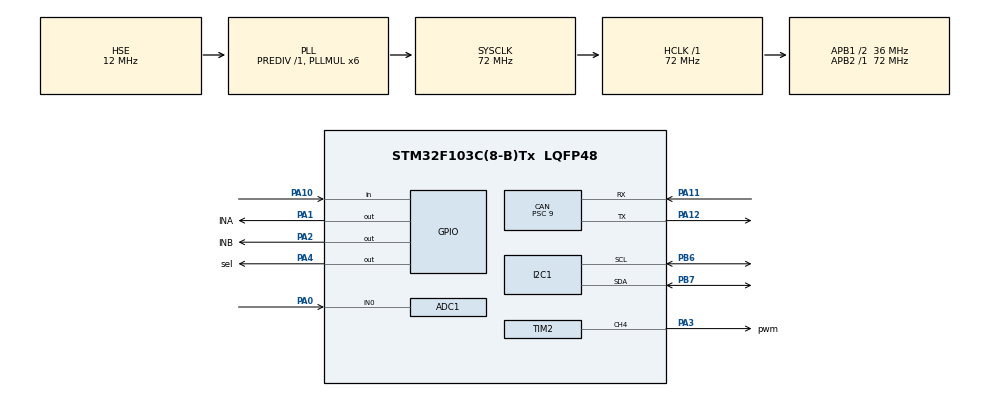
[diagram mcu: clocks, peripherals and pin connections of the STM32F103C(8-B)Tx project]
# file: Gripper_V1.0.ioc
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ADC1.Channel-0\#ChannelRegularConversion=ADC_CHANNEL_0
ADC1.ContinuousConvMode=ENABLE
ADC1.NbrOfConversionFlag=1
ADC1.Rank-0\#ChannelRegularConversion=1
ADC1.SamplingTime-0\#ChannelRegularConversion=ADC_SAMPLETIME_239CYCLES_5
ADC1.master=1
CAN.ABOM=ENABLE
CAN.BS1=CAN_BS1_13TQ
CAN.BS2=CAN_BS2_2TQ
CAN.CalculateBaudRate=250000
CAN.CalculateTimeBit=4000
CAN.CalculateTimeQuantum=250.0
CAN.NART=ENABLE
CAN.Prescaler=9
CAN.SJW=CAN_SJW_2TQ
CAN.TXFP=ENABLE
Dma.ADC1.0.Direction=DMA_PERIPH_TO_MEMORY
Dma.ADC1.0.Instance=DMA1_Channel1
Dma.ADC1.0.MemDataAlignment=DMA_MDATAALIGN_HALFWORD
Dma.ADC1.0.MemInc=DMA_MINC_ENABLE
Dma.ADC1.0.Mode=DMA_CIRCULAR
Dma.ADC1.0.PeriphDataAlignment=DMA_PDATAALIGN_HALFWORD
Dma.ADC1.0.PeriphInc=DMA_PINC_DISABLE
Dma.ADC1.0.Priority=DMA_PRIORITY_LOW
Dma.Request0=ADC1
I2C1.I2C_Mode=I2C_Standard
Mcu.Family=STM32F1
Mcu.Name=STM32F103C(8-B)Tx
Mcu.Package=LQFP48
NVIC.ADC1_2_IRQn=true\:0\:0\:false\:false\:true\:true\:true\:true
NVIC.DMA1_Channel1_IRQn=true\:0\:0\:false\:false\:true\:false\:true\:true
NVIC.PriorityGroup=NVIC_PRIORITYGROUP_4
NVIC.USB_LP_CAN1_RX0_IRQn=true\:0\:0\:false\:false\:true\:true\:true\:true
PA0-WKUP.Signal=ADCx_IN0
PA1.GPIO_Label=INA
PA1.Signal=GPIO_Output
PA10.GPIO_PuPd=GPIO_PULLUP
PA10.Signal=GPIO_Input
PA11.Mode=CAN_Activate
PA11.Signal=CAN_RX
PA12.Mode=CAN_Activate
PA12.Signal=CAN_TX
PA13.Mode=Serial_Wire
PA13.Signal=SYS_JTMS-SWDIO
PA14.Mode=Serial_Wire
PA14.Signal=SYS_JTCK-SWCLK
PA2.GPIO_Label=INB
PA2.Signal=GPIO_Output
PA3.GPIO_Label=pwm
PA3.Signal=S_TIM2_CH4
PA4.GPIO_Label=sel
PA4.Signal=GPIO_Output
PB6.Mode=I2C
PB6.Signal=I2C1_SCL
PB7.Mode=I2C
PB7.Signal=I2C1_SDA
PD0-OSC_IN.Mode=HSE-External-Oscillator
PD0-OSC_IN.Signal=RCC_OSC_IN
PD1-OSC_OUT.Mode=HSE-External-Oscillator
PD1-OSC_OUT.Signal=RCC_OSC_OUT
ProjectManager.HeapSize=0x200
ProjectManager.StackSize=0x400
ProjectManager.TargetToolchain=STM32CubeIDE
RCC.ADCPresc=RCC_ADCPCLK2_DIV6
RCC.AHBFreq_Value=72000000
RCC.APB1CLKDivider=RCC_HCLK_DIV2
RCC.APB1Freq_Value=36000000
RCC.APB1TimFreq_Value=72000000
RCC.APB2Freq_Value=72000000
RCC.APB2TimFreq_Value=72000000
RCC.HCLKFreq_Value=72000000
RCC.HSE_VALUE=12000000
RCC.PLLMUL=RCC_PLL_MUL6
RCC.PLLSourceVirtual=RCC_PLLSOURCE_HSE
RCC.SYSCLKFreq_VALUE=72000000
RCC.SYSCLKSource=RCC_SYSCLKSOURCE_PLLCLK
RCC.USBFreq_Value=72000000
SH.ADCx_IN0.0=ADC1_IN0,IN0
SH.S_TIM2_CH4.0=TIM2_CH4,PWM Generation4 CH4
TIM2.Channel-PWM\ Generation4\ CH4=TIM_CHANNEL_4
TIM2.Period=3199
VP_TIM2_VS_ClockSourceINT.Mode=Internal
board=custom

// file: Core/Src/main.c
/* USER CODE BEGIN Header */
/**
  ******************************************************************************
  * @file           : main.c
  * @brief          : VNH7100 kiskac kontrol karti
  ******************************************************************************
  * Donanim (STM32F103C8T6, 64 MHz HSI):
  *   PA0 -> CS (ADC1_IN0) | PA1 -> INA | PA2 -> INB | PA3 -> PWM (TIM2_CH4)
  *   PA4 -> SEL0
  *   PB6 -> I2C1 SCL (TX1 test noktasi) | PB7 -> I2C1 SDA (RX1 test noktasi)
  *   PA11 -> CAN RX | PA12 -> CAN TX | PA10 -> TCAN337 FAULT
  *
  * Moduller:
  *   app_config.h  : tum ayarlar (esikler, hizlar, sureler)
  *   vnh7100.c/h   : dusuk seviye surucu (PWM, yon, akim olcumu)
  *   gripper.c/h   : kiskac durum makinesi ve korumalar
  *   watchdog.c/h  : IWDG
  *   tof_sensor.c/h: VL53L8CX uygulama katmani (platform.c + ST ULD API)
  *   can_comm.c/h  : bxCAN dusuk seviye (kuyruklar, filtre, bit zamanlamasi)
  *   can_protocol.c/h + gripper_can_defs.h : kiskac CAN protokolu (master ile ortak)
  *
  * Debugger (Live Expressions) ile kullanim:
  *   dbg_cmd         : 1 = AC, 2 = KAPA, 3 = DUR  (islenince 0'a doner)
  *   dbg_cmd_result  : son komut kabul edildi mi
  *   dbg_clear_fault : true yap -> ariza temizlenir
  *   grip_status     : durum, akim, tepe akim, durma sebebi...
  *   tof_status      : sensor durumu / hata sebebi
  *   tof_frame       : son olcum (distance_mm[], valid_mask, min_distance_mm)
  *   dbg_tof_reinit  : true yap -> sensor bastan kurulur (sadece motor dururken)
  ******************************************************************************
  */
/* USER CODE END Header */
#include "main.h"

/* USER CODE BEGIN Includes */
#include <stdbool.h>
#include "app_config.h"
#include "vnh7100.h"
#include "gripper.h"
#include "watchdog.h"
#include "platform.h"
#include "tof_sensor.h"
#include "can_comm.h"
#include "can_protocol.h"
#include "gripper_can_defs.h"
/* USER CODE END Includes */

/* USER CODE BEGIN PD */
#define SYSCLK_EXPECTED_HZ   72000000U
/* USER CODE END PD */

ADC_HandleTypeDef hadc1;
DMA_HandleTypeDef hdma_adc1;

CAN_HandleTypeDef hcan;

I2C_HandleTypeDef hi2c1;

TIM_HandleTypeDef htim2;

/* USER CODE BEGIN PV */
static const VNH7100_Config_t vnh_cfg =
{
  .hadc        = &hadc1,
  .htim        = &htim2,
  .tim_channel = TIM_CHANNEL_4,
  .port        = GPIOA,
  .pin_ina     = INA_Pin,
  .pin_inb     = INB_Pin,
  .pin_sel0    = sel_Pin,
  .rsense_ohm  = CS_RSENSE_OHM,
  .k_factor    = CS_K_FACTOR,
  .vref_mv     = ADC_VREF_MV,
};

/* Debugger arayuzu (ileride CAN bunlarin yerini alacak) */
volatile GripperCmd_t dbg_cmd = GRIP_CMD_NONE;
volatile bool         dbg_cmd_result = false;
volatile bool         dbg_clear_fault = false;
GripperStatus_t       grip_status;

volatile bool         can_ok = false;
CanStats_t            can_stats;

#if TOF_ENABLE
volatile bool         dbg_tof_reinit = false;
ToF_Status_t          tof_status;
ToF_Frame_t           tof_frame;
#endif
/* USER CODE END PV */

void SystemClock_Config(void);
static void MX_GPIO_Init(void);
static void MX_DMA_Init(void);
static void MX_ADC1_Init(void);
static void MX_TIM2_Init(void);
static void MX_I2C1_Init(void);
static void MX_CAN_Init(void);

int main(void)
{

  /* USER CODE BEGIN 1 */
  uint32_t last_tick;
  /* USER CODE END 1 */

  /* MCU Configuration--------------------------------------------------------*/

  /* Reset of all peripherals, Initializes the Flash interface and the Systick. */
  HAL_Init();

  /* Configure the system clock */
  SystemClock_Config();

  /* USER CODE BEGIN SysInit */
  if (HAL_RCC_GetSysClockFreq() != SYSCLK_EXPECTED_HZ)
  {
    Error_Handler();
  }
  /* USER CODE END SysInit */

  /* Initialize all configured peripherals */
  MX_GPIO_Init();
  MX_DMA_Init();
  MX_ADC1_Init();
  MX_TIM2_Init();
  MX_I2C1_Init();
  MX_CAN_Init();
  /* USER CODE BEGIN 2 */
  /* Once motor: guvenli kapali duruma gelsin */
  if (VNH7100_Init(&vnh_cfg) != HAL_OK)
  {
    Error_Handler();
  }
  Gripper_Init();

#if TOF_ENABLE
  /* Firmware yukleme ~1-2 s bloklar; motor kapaliyken yapiliyor.
   * Sensor bulunamazsa kart yine calisir, tof_status.last_error'a bak. */
  (void)ToF_Init(&hi2c1);
  ToF_GetStatus(&tof_status);
#endif

  /* CAN: sadece master komut ID'si kabul edilir, motor trafigi filtrede elenir.
   * Hata olursa kart yine calisir (can_ok = false). */
  {
    const uint16_t rx_ids[1] = { GCAN_ID_CMD };
    can_ok = (CanComm_Init(&hcan, rx_ids, 1U) == HAL_OK);
    CanProto_Init(can_ok);
  }

#if WATCHDOG_ENABLE
  Watchdog_Init(WATCHDOG_TIMEOUT_MS);
#endif

  last_tick = HAL_GetTick();
  /* USER CODE END 2 */

  /* Infinite loop */
  while (1)
  {

    /* USER CODE BEGIN 3 */
    /* CAN gonderim kuyrugunu her turda bosalt */
    CanComm_Task();

    /* Debugger komutlari (CAN'e ek olarak) */
    if (dbg_cmd != GRIP_CMD_NONE)
    {
      dbg_cmd_result = Gripper_Command(dbg_cmd);
      dbg_cmd = GRIP_CMD_NONE;
    }
    if (dbg_clear_fault)
    {
      dbg_clear_fault = false;
      (void)Gripper_ClearFault();
    }

#if TOF_ENABLE
    /* Yeniden kurulum 1-2 s bloklar: sadece motor dururken izin ver */
    if (dbg_tof_reinit || CanProto_TakeTofReinitRequest())
    {
      dbg_tof_reinit = false;
      if ((grip_status.state == GRIP_STATE_IDLE) || (grip_status.state == GRIP_STATE_FAULT))
      {
        (void)ToF_Reinit();
        ToF_GetStatus(&tof_status);
        last_tick = HAL_GetTick();   /* kacirilan periyotlari toplu calistirma */
      }
    }
#endif

    /* 10 ms kontrol dongusu */
    if ((HAL_GetTick() - last_tick) >= CTRL_PERIOD_MS)
    {
      last_tick += CTRL_PERIOD_MS;

      /* 1) CAN komutlari  2) sensor  3) CAN gonderim.
       * Kiskac kontrolu (Gripper_Task) burada degil, SysTick kesmesinde calisir:
       * ToF I2C islemi uzun surse de akim korumalari gecikmez. */
      CanProto_ProcessRx();

      Gripper_GetStatus(&grip_status);

#if TOF_ENABLE
      ToF_Task();
      if (ToF_HasNewFrame())
      {
        (void)ToF_GetFrame(&tof_frame);
        CanProto_SendToF(&tof_frame);
      }
      ToF_GetStatus(&tof_status);
#endif

      CanProto_Tx();
      CanComm_GetStats(&can_stats);

#if WATCHDOG_ENABLE
      /* Sadece kontrol dongusu calisiyorsa besle */
      Watchdog_Kick();
#endif
    }

  }
  /* USER CODE END 3 */
}

void SystemClock_Config(void)
{
  RCC_OscInitTypeDef RCC_OscInitStruct = {0};
  RCC_ClkInitTypeDef RCC_ClkInitStruct = {0};
  RCC_PeriphCLKInitTypeDef PeriphClkInit = {0};

  /** Initializes the RCC Oscillators according to the specified parameters
  * in the RCC_OscInitTypeDef structure.
  */
  RCC_OscInitStruct.OscillatorType = RCC_OSCILLATORTYPE_HSE;
  RCC_OscInitStruct.HSEState = RCC_HSE_ON;
  RCC_OscInitStruct.HSEPredivValue = RCC_HSE_PREDIV_DIV1;
  RCC_OscInitStruct.HSIState = RCC_HSI_ON;
  RCC_OscInitStruct.PLL.PLLState = RCC_PLL_ON;
  RCC_OscInitStruct.PLL.PLLSource = RCC_PLLSOURCE_HSE;
  RCC_OscInitStruct.PLL.PLLMUL = RCC_PLL_MUL6;
  if (HAL_RCC_OscConfig(&RCC_OscInitStruct) != HAL_OK)
  {
    Error_Handler();
  }

  /** Initializes the CPU, AHB and APB buses clocks
  */
  RCC_ClkInitStruct.ClockType = RCC_CLOCKTYPE_HCLK|RCC_CLOCKTYPE_SYSCLK
                              |RCC_CLOCKTYPE_PCLK1|RCC_CLOCKTYPE_PCLK2;
  RCC_ClkInitStruct.SYSCLKSource = RCC_SYSCLKSOURCE_PLLCLK;
  RCC_ClkInitStruct.AHBCLKDivider = RCC_SYSCLK_DIV1;
  RCC_ClkInitStruct.APB1CLKDivider = RCC_HCLK_DIV2;
  RCC_ClkInitStruct.APB2CLKDivider = RCC_HCLK_DIV1;

  if (HAL_RCC_ClockConfig(&RCC_ClkInitStruct, FLASH_LATENCY_2) != HAL_OK)
  {
    Error_Handler();
  }
  PeriphClkInit.PeriphClockSelection = RCC_PERIPHCLK_ADC;
  PeriphClkInit.AdcClockSelection = RCC_ADCPCLK2_DIV6;
  if (HAL_RCCEx_PeriphCLKConfig(&PeriphClkInit) != HAL_OK)
  {
    Error_Handler();
  }
}

static void MX_ADC1_Init(void)
{

  ADC_ChannelConfTypeDef sConfig = {0};

  /** Common config
  */
  hadc1.Instance = ADC1;
  hadc1.Init.ScanConvMode = ADC_SCAN_DISABLE;
  hadc1.Init.ContinuousConvMode = ENABLE;
  hadc1.Init.DiscontinuousConvMode = DISABLE;
  hadc1.Init.ExternalTrigConv = ADC_SOFTWARE_START;
  hadc1.Init.DataAlign = ADC_DATAALIGN_RIGHT;
  hadc1.Init.NbrOfConversion = 1;
  if (HAL_ADC_Init(&hadc1) != HAL_OK)
  {
    Error_Handler();
  }

  /** Configure Regular Channel
  */
  sConfig.Channel = ADC_CHANNEL_0;
  sConfig.Rank = ADC_REGULAR_RANK_1;
  sConfig.SamplingTime = ADC_SAMPLETIME_239CYCLES_5;
  if (HAL_ADC_ConfigChannel(&hadc1, &sConfig) != HAL_OK)
  {
    Error_Handler();
  }
  /* USER CODE BEGIN ADC1_Init 2 */
  /* DMA "Normal" kalmissa buffer bir kez dolup donar -> circular'a zorla */
  if (hdma_adc1.Init.Mode != DMA_CIRCULAR)
  {
    hdma_adc1.Init.Mode = DMA_CIRCULAR;
    if (HAL_DMA_Init(&hdma_adc1) != HAL_OK)
    {
      Error_Handler();
    }
  }
  /* USER CODE END ADC1_Init 2 */

}

static void MX_CAN_Init(void)
{

  hcan.Instance = CAN1;
  hcan.Init.Prescaler = 9;
  hcan.Init.Mode = CAN_MODE_NORMAL;
  hcan.Init.SyncJumpWidth = CAN_SJW_2TQ;
  hcan.Init.TimeSeg1 = CAN_BS1_13TQ;
  hcan.Init.TimeSeg2 = CAN_BS2_2TQ;
  hcan.Init.TimeTriggeredMode = DISABLE;
  hcan.Init.AutoBusOff = ENABLE;
  hcan.Init.AutoWakeUp = DISABLE;
  hcan.Init.AutoRetransmission = ENABLE;
  hcan.Init.ReceiveFifoLocked = DISABLE;
  hcan.Init.TransmitFifoPriority = ENABLE;
  if (HAL_CAN_Init(&hcan) != HAL_OK)
  {
    Error_Handler();
  }

}

static void MX_I2C1_Init(void)
{

  /* USER CODE BEGIN I2C1_Init 0 */
  /* F1 errata: takili hat / BUSY bayragi -> init oncesi hat kurtarma */
  /* TESHIS: once yazilimla ~6 kHz'de sensoru dene (sonuc: i2c_probe) */
  Platform_I2C_Probe();
  Platform_I2C_BusRecover();
  /* USER CODE END I2C1_Init 0 */

  hi2c1.Instance = I2C1;
  hi2c1.Init.ClockSpeed = 100000;
  hi2c1.Init.DutyCycle = I2C_DUTYCYCLE_2;
  hi2c1.Init.OwnAddress1 = 0;
  hi2c1.Init.AddressingMode = I2C_ADDRESSINGMODE_7BIT;
  hi2c1.Init.DualAddressMode = I2C_DUALADDRESS_DISABLE;
  hi2c1.Init.OwnAddress2 = 0;
  hi2c1.Init.GeneralCallMode = I2C_GENERALCALL_DISABLE;
  hi2c1.Init.NoStretchMode = I2C_NOSTRETCH_DISABLE;
  if (HAL_I2C_Init(&hi2c1) != HAL_OK)
  {
    Error_Handler();
  }

}

static void MX_TIM2_Init(void)
{

  TIM_ClockConfigTypeDef sClockSourceConfig = {0};
  TIM_MasterConfigTypeDef sMasterConfig = {0};
  TIM_OC_InitTypeDef sConfigOC = {0};

  htim2.Instance = TIM2;
  htim2.Init.Prescaler = 0;
  htim2.Init.CounterMode = TIM_COUNTERMODE_UP;
  htim2.Init.Period = 3199;
  htim2.Init.ClockDivision = TIM_CLOCKDIVISION_DIV1;
  htim2.Init.AutoReloadPreload = TIM_AUTORELOAD_PRELOAD_DISABLE;
  if (HAL_TIM_Base_Init(&htim2) != HAL_OK)
  {
    Error_Handler();
  }
  sClockSourceConfig.ClockSource = TIM_CLOCKSOURCE_INTERNAL;
  if (HAL_TIM_ConfigClockSource(&htim2, &sClockSourceConfig) != HAL_OK)
  {
    Error_Handler();
  }
  if (HAL_TIM_PWM_Init(&htim2) != HAL_OK)
  {
    Error_Handler();
  }
  sMasterConfig.MasterOutputTrigger = TIM_TRGO_RESET;
  sMasterConfig.MasterSlaveMode = TIM_MASTERSLAVEMODE_DISABLE;
  if (HAL_TIMEx_MasterConfigSynchronization(&htim2, &sMasterConfig) != HAL_OK)
  {
    Error_Handler();
  }
  sConfigOC.OCMode = TIM_OCMODE_PWM1;
  sConfigOC.Pulse = 0;
  sConfigOC.OCPolarity = TIM_OCPOLARITY_HIGH;
  sConfigOC.OCFastMode = TIM_OCFAST_DISABLE;
  if (HAL_TIM_PWM_ConfigChannel(&htim2, &sConfigOC, TIM_CHANNEL_4) != HAL_OK)
  {
    Error_Handler();
  }
  HAL_TIM_MspPostInit(&htim2);

}

static void MX_DMA_Init(void)
{

  /* DMA controller clock enable */
  __HAL_RCC_DMA1_CLK_ENABLE();

  /* DMA interrupt init */
  /* DMA1_Channel1_IRQn interrupt configuration */
  HAL_NVIC_SetPriority(DMA1_Channel1_IRQn, 0, 0);
  HAL_NVIC_EnableIRQ(DMA1_Channel1_IRQn);

}

static void MX_GPIO_Init(void)
{
  GPIO_InitTypeDef GPIO_InitStruct = {0};

  /* GPIO Ports Clock Enable */
  __HAL_RCC_GPIOD_CLK_ENABLE();
  __HAL_RCC_GPIOA_CLK_ENABLE();
  __HAL_RCC_GPIOB_CLK_ENABLE();

  /*Configure GPIO pin Output Level */
  HAL_GPIO_WritePin(GPIOA, INA_Pin|INB_Pin|sel_Pin, GPIO_PIN_RESET);

  /*Configure GPIO pins : INA_Pin INB_Pin sel_Pin */
  GPIO_InitStruct.Pin = INA_Pin|INB_Pin|sel_Pin;
  GPIO_InitStruct.Mode = GPIO_MODE_OUTPUT_PP;
  GPIO_InitStruct.Pull = GPIO_NOPULL;
  GPIO_InitStruct.Speed = GPIO_SPEED_FREQ_LOW;
  HAL_GPIO_Init(GPIOA, &GPIO_InitStruct);

  /*Configure GPIO pin : PA10 */
  GPIO_InitStruct.Pin = GPIO_PIN_10;
  GPIO_InitStruct.Mode = GPIO_MODE_INPUT;
  GPIO_InitStruct.Pull = GPIO_PULLUP;
  HAL_GPIO_Init(GPIOA, &GPIO_InitStruct);

}

/* USER CODE BEGIN 4 */
/* Sensor firmware yuklerken (1-2 s) watchdog'un reset atmamasi icin */
void VL53L8CX_IdleHook(void)
{
#if WATCHDOG_ENABLE
  Watchdog_Kick();
#endif
}
/* USER CODE END 4 */

void Error_Handler(void)
{
  /* USER CODE BEGIN Error_Handler_Debug */
  __disable_irq();
  /* Guvenli durum: motoru dogrudan register ile kapat */
  MOTOR_EMERGENCY_OFF();
  /* Watchdog aciksa bir sure sonra MCU resetlenir ve yeniden baslar */
  while (1)
  {
  }
  /* USER CODE END Error_Handler_Debug */
}
